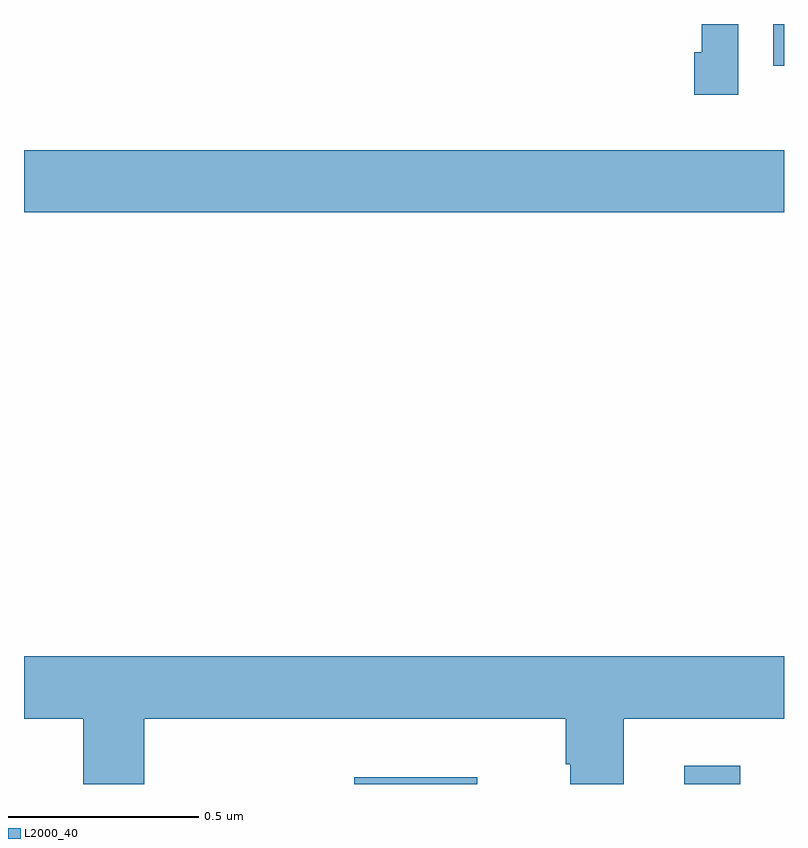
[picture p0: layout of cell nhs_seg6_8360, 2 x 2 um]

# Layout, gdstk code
import gdstk
lib = gdstk.Library(unit=1e-6, precision=1e-09)
def R(c, l, rs):  # rectangles x0, y0, x1, y1
    for r in rs: c.add(gdstk.rectangle(r[:2], r[2:], *l))
def P(c, l, *ps):  # polygons
    for p in ps: c.add(gdstk.Polygon(p, *l))
L2000_40 = (2000, 40)

nhs_seg6_8360 = lib.new_cell('nhs_seg6_8360')
R(nhs_seg6_8360, L2000_40, [(220.869,944.5,221.193,944.518), (221.738,944.5,221.885,944.548), (220,946.004,222,946.168), (221.972,946.39,222,946.5)])
P(nhs_seg6_8360, L2000_40, [(221.88,946.5),(221.784,946.5),(221.784,946.426),(221.764,946.426),(221.764,946.314),(221.88,946.314)],
  [(220.316,944.672),(221.426,944.672),(221.426,944.552),(221.438,944.552),(221.438,944.5),(221.578,944.5),(221.578,944.672),(222,944.672),(222,944.836),(220,944.836),(220,944.672),(220.156,944.672),(220.156,944.5),(220.316,944.5)])

lib.write_gds('nhs_seg6_8360.gds')
